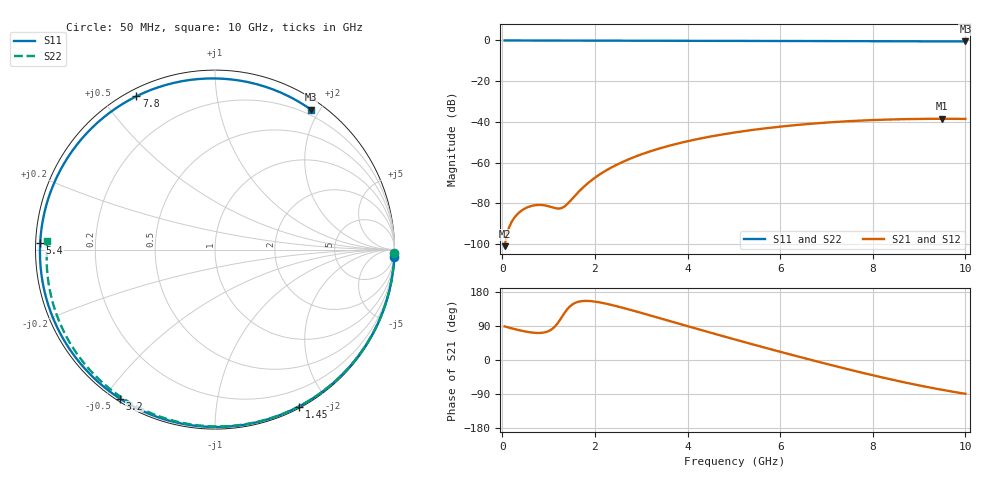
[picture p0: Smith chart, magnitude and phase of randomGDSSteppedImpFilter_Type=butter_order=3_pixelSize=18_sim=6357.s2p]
! freq	dB(S11)	phase(S11)	dB(S12)	phase(S12)
!  dB(S21)	phase(S21)	dB(S22)	phase(S22)
!S-par simulation data
#  GHz  S  DB  R 50
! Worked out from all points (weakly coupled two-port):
!   200 points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, 50 MHz to 10 GHz, reference 50 ohm
!   highest |S21| = -38.50 dB at 9.5 GHz (marker M1); lowest = -101.1 dB at 50 MHz (marker M2)
!   lowest |S11| = -0.5 dB at 10 GHz (marker M3), VSWR 35.66, Z = 6.43 + j94.5 ohm
!   |S11| at or under -10 dB: nowhere
!   |S22| runs from -0.6 to 0.0 dB; largest |S21 - S12| = 0
!   S11 on the Smith chart (normalised r, x): 50 MHz: 0, -51; 1.45 GHz: 0.02, -1.67; 3.2 GHz: 0.01, -0.55; 5.4 GHz: 0.01, +0.02; 7.8 GHz: 0.03, +0.61; 10 GHz: 0.13, +1.89
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0.05  -0.00 -2.3  -101.12 88.6  -101.12 88.6  -0.00 -1.1
0.35  -0.02 -15.6  -84.86 79.1  -84.86 79.1  -0.01 -7.4
0.7  -0.04 -30.8  -81.01 71.7  -81.01 71.7  -0.02 -14.8
1.05  -0.06 -45.6  -81.82 79.6  -81.82 79.6  -0.03 -22.1
1.4  -0.07 -59.9  -80.49 133.5  -80.49 133.5  -0.04 -29.3
1.45  -0.07 -61.9  -79.32 140.2  -79.32 140.2  -0.04 -30.4
1.75  -0.09 -73.5  -72.14 155.8  -72.14 155.8  -0.05 -36.5
2.05  -0.10 -84.5  -66.67 153.2  -66.67 153.2  -0.05 -42.5
2.35  -0.11 -95.1  -62.51 145.6  -62.51 145.6  -0.06 -48.5
2.75  -0.12 -108.4  -58.21 132.9  -58.21 132.9  -0.07 -56.4
3.2  -0.13 -122.5  -54.46 117.4  -54.46 117.4  -0.08 -65.1
3.4  -0.14 -128.5  -53.06 110.4  -53.06 110.4  -0.09 -68.9
4.2  -0.17 -151.0  -48.55 82.4  -48.55 82.4  -0.12 -83.7
5.05  -0.21 -173.3  -45.12 53.2  -45.12 53.2  -0.15 -98.8
5.4  -0.22 177.9  -44.00 41.5  -44.00 41.5  -0.17 -104.9
6.05  -0.26 161.7  -42.25 20.1  -42.25 20.1  -0.20 -116.0
6.7  -0.29 145.4  -40.88 -0.8  -40.88 -0.8  -0.25 -126.9
7.8  -0.36 117.2  -39.32 -34.4  -39.32 -34.4  -0.34 -145.1
8.35  -0.39 102.5  -38.86 -50.1  -38.86 -50.1  -0.39 -154.3
8.95  -0.42 85.9  -38.58 -65.8  -38.58 -65.8  -0.45 -164.4
9.5  -0.45 70.2  -38.50 -78.7  -38.50 -78.7  -0.52 -173.9
10  -0.49 55.6  -38.56 -89.2  -38.56 -89.2  -0.59 177.2
